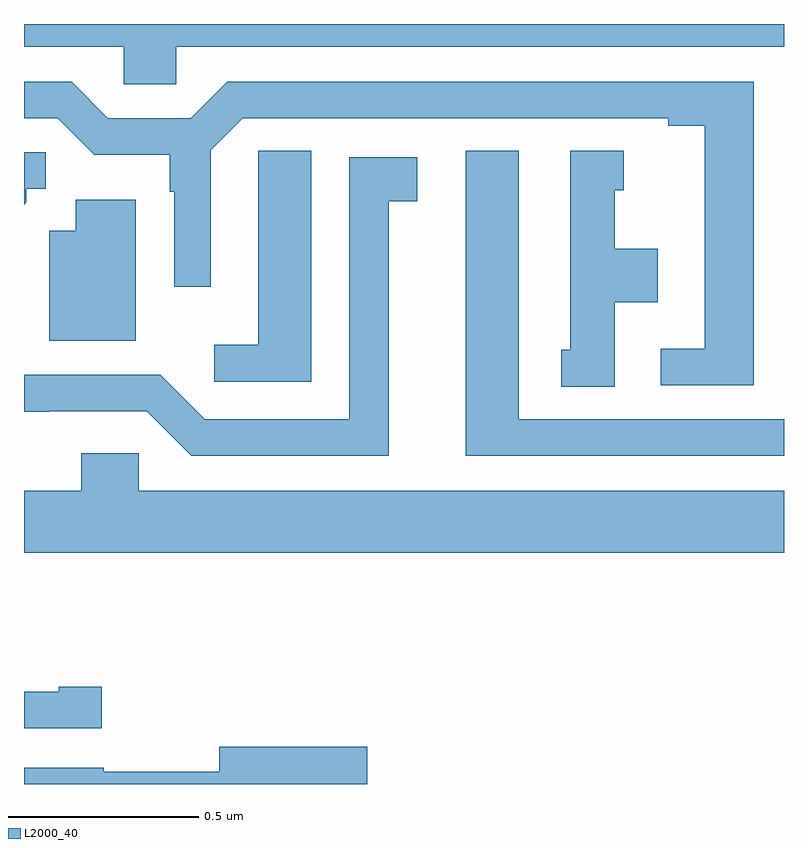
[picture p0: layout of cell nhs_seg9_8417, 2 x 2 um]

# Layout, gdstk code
import gdstk
lib = gdstk.Library(unit=1e-6, precision=1e-09)
def P(c, l, *ps):  # polygons
    for p in ps: c.add(gdstk.Polygon(p, *l))
L2000_40 = (2000, 40)

nhs_seg9_8417 = lib.new_cell('nhs_seg9_8417')
P(nhs_seg9_8417, L2000_40, [(217.401,1176.44),(219,1176.44),(219,1176.5),(217,1176.5),(217,1176.44),(217.263,1176.44),(217.263,1176.342),(217.401,1176.342)],
  [(218.92,1176.348),(217.535,1176.348),(217.439,1176.252),(217.221,1176.252),(217.125,1176.348),(217,1176.348),(217,1176.252),(217.089,1176.252),(217.185,1176.156),(217.383,1176.156),(217.383,1176.059),(217.395,1176.059),(217.395,1175.808),(217.491,1175.808),(217.491,1176.168),(217.575,1176.252),(218.696,1176.252),(218.696,1176.232),(218.792,1176.232),(218.792,1175.646),(218.676,1175.646),(218.676,1175.55),(218.92,1175.55)],
  [(217.756,1176.167),(217.617,1176.167),(217.617,1176.059),(217.616,1176.059),(217.616,1175.656),(217.5,1175.656),(217.5,1175.559),(217.756,1175.559)],
  [(219,1175.46),(218.302,1175.46),(218.302,1176.166),(218.162,1176.166),(218.162,1175.364),(219,1175.364)],
  [(218.554,1175.768),(218.668,1175.768),(218.668,1175.908),(218.554,1175.908),(218.554,1176.063),(218.578,1176.063),(218.578,1176.166),(218.438,1176.166),(218.438,1175.643),(218.414,1175.643),(218.414,1175.545),(218.554,1175.545)],
  [(217.006,1176.031),(217.006,1176.066),(217.057,1176.066),(217.057,1176.162),(217,1176.162),(217,1176.025)],
  [(217.96,1176.034),(218.035,1176.034),(218.035,1176.15),(217.856,1176.15),(217.856,1175.46),(217.476,1175.46),(217.359,1175.577),(217,1175.577),(217,1175.48),(217.067,1175.48),(217.067,1175.481),(217.323,1175.481),(217.44,1175.364),(217.96,1175.364)],
  [(217.294,1176.037),(217.136,1176.037),(217.136,1175.956),(217.067,1175.956),(217.067,1175.666),(217.294,1175.666)],
  [(219,1175.272),(217.302,1175.272),(217.302,1175.37),(217.151,1175.37),(217.151,1175.272),(217,1175.272),(217,1175.108),(219,1175.108)],
  [(217.204,1174.756),(217.091,1174.756),(217.091,1174.743),(217,1174.743),(217,1174.647),(217.204,1174.647)],
  [(217.903,1174.598),(217.514,1174.598),(217.514,1174.532),(217.21,1174.532),(217.21,1174.543),(217,1174.543),(217,1174.5),(217.903,1174.5)])

lib.write_gds('nhs_seg9_8417.gds')
